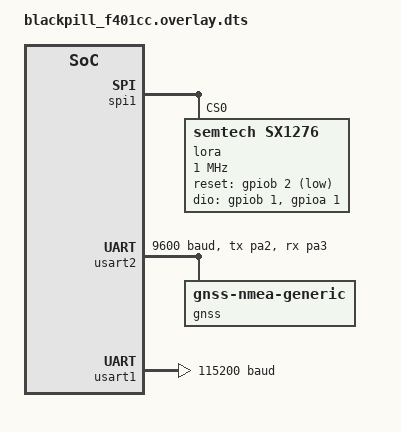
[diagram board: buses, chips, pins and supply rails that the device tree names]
/ {
    aliases {
        lora0 = &lora;
        gnss = &gnss;
        modem = &gnss;
    };
};

&i2c1 {
    status = "disabled";
};

&spi1 {
    status = "okay";
    lora: lora@0 {
        compatible = "semtech,sx1276";
		reg = <0>;
        //reset-gpios = <&gpioa 3 GPIO_ACTIVE_LOW>;
        reset-gpios = <&gpiob 2 GPIO_ACTIVE_LOW>;
        dio-gpios =
			/* SX1276 D0 */
            //<&gpioa 2 (GPIO_PULL_DOWN | GPIO_ACTIVE_HIGH)>,
            <&gpiob 1 (GPIO_PULL_DOWN | GPIO_ACTIVE_HIGH)>,
			/* SX1276 D1 */
            <&gpioa 1 (GPIO_PULL_DOWN | GPIO_ACTIVE_HIGH)>;
		spi-max-frequency = <1000000>;
		power-amplifier-output = "pa-boost";
    };
};

&usart2 {
    pinctrl-0 = <&usart2_tx_pa2 &usart2_rx_pa3>;
	pinctrl-names = "default";
	status = "okay";
	current-speed = <9600>;

    gnss: gnss-nmea-generic {
        compatible = "gnss-nmea-generic";
        status = "okay";
    };
};

&usart1 {
	current-speed = <115200>;
};

&usbotg_fs {
    status = "disabled";
};

&vref {
	status = "disabled";
};

&vbat {
	status = "disabled";
};

&adc1 {
	status = "disabled";
};
